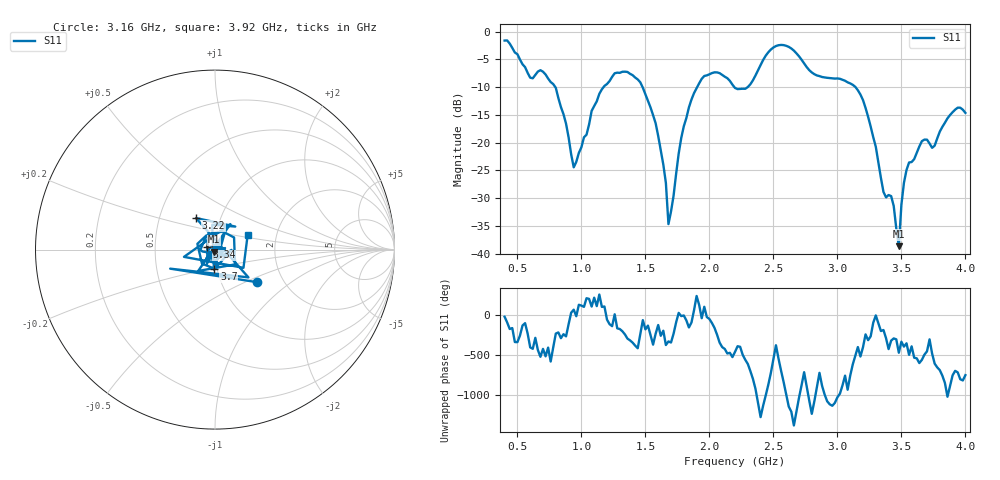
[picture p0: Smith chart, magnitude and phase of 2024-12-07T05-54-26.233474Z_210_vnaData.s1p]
!Created with skrf (http://scikit-rf.org).
# Hz S RI R 50.0
!freq ReS11 ImS11
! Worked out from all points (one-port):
!   181 points, 400 MHz to 4 GHz, reference 50 ohm
!   lowest |S11| = -38.6 dB at 3.48 GHz (marker M1), VSWR 1.02, Z = 49.6 - j1.09 ohm
!   |S11| at or under -10 dB: 796.7 MHz to 1.172 GHz (375.8 MHz wide, 38.2 % of centre); 1.478 GHz to 1.904 GHz (425.8 MHz wide, 25.2 % of centre); 3.142 GHz to end of sweep (the widest 3 of 4)
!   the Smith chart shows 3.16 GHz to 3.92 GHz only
!   S11 on the Smith chart (normalised r, x): 3.16 GHz: 1.47, -0.59; 3.22 GHz: 0.76, +0.28; 3.34 GHz: 0.91, +0.03; 3.7 GHz: 0.97, -0.21; 3.92 GHz: 1.42, +0.24
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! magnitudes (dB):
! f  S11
! 400 MHz  -1.6
! 600 MHz  -8.3
! 720 MHz  -7.7
! 860 MHz  -14.9
! 940 MHz  -24.4
! 1.14 GHz  -11.2
! 1.3 GHz  -7.4
! 1.46 GHz  -9.1
! 1.56 GHz  -15.0
! 1.64 GHz  -24.0
! 1.68 GHz  -34.7
! 1.76 GHz  -22.0
! 1.94 GHz  -8.5
! 2.2 GHz  -10.1
! 2.5 GHz  -2.8
! 2.66 GHz  -3.4
! 3.1 GHz  -9.3
! 3.16 GHz  -10.6
! 3.22 GHz  -13.7
! 3.34 GHz  -26.3
! 3.42 GHz  -29.6
! 3.48 GHz  -38.6
! 3.52 GHz  -27.2
! 3.56 GHz  -23.6
! 3.7 GHz  -19.5
! 3.76 GHz  -20.5
! 3.92 GHz  -14.0
! 4 GHz  -14.6
